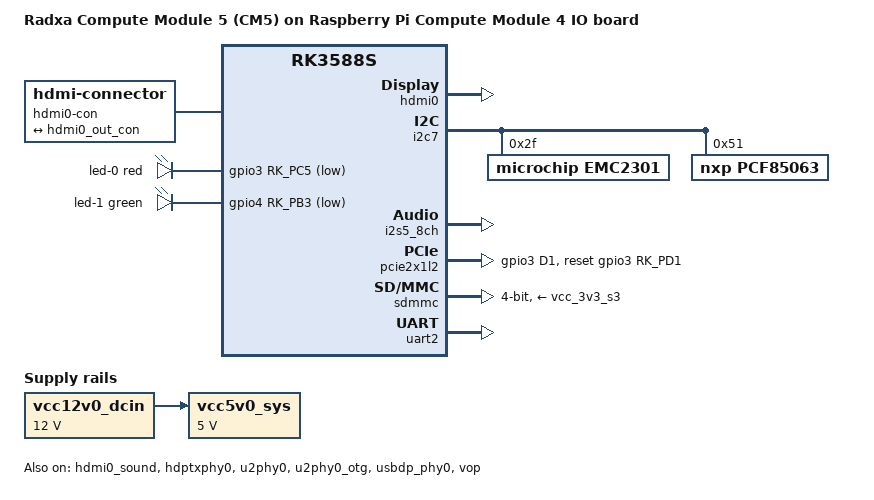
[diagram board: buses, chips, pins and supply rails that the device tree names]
// SPDX-License-Identifier: (GPL-2.0+ OR MIT)
/*
 * Copyright (c) 2025 Andrew Yong <me@ndoo.sg>
 */

/*
 * Raspberry Pi CM4 I/O board datasheet
 * https://datasheets.raspberrypi.com/cm4io/cm4io-datasheet.pdf
 */

/dts-v1/;

#include <dt-bindings/soc/rockchip,vop2.h>
#include "rk3588s-radxa-cm5.dtsi"

/ {
	model = "Radxa Compute Module 5 (CM5) on Raspberry Pi Compute Module 4 IO board";
	compatible = "radxa,cm5-rpi-cm4-io", "radxa,cm5", "rockchip,rk3588s";

	aliases {
		ethernet0 = &gmac1;
		mmc1 = &sdmmc;
	};

	chosen {
		stdout-path = "serial2:1500000n8";
	};

	hdmi0-con {
		compatible = "hdmi-connector";
		type = "a";

		port {
			hdmi0_con_in: endpoint {
				remote-endpoint = <&hdmi0_out_con>;
			};
		};
	};

	leds {
		compatible = "gpio-leds";
		pinctrl-names = "default";
		pinctrl-0 = <&led_pins>;

		led-0 {
			color = <LED_COLOR_ID_RED>;
			function = LED_FUNCTION_POWER;
			gpios = <&gpio3 RK_PC5 GPIO_ACTIVE_LOW>;
			linux,default-trigger = "default-on";
		};

		led-1 {
			color = <LED_COLOR_ID_GREEN>;
			default-state = "on";
			function = LED_FUNCTION_HEARTBEAT;
			gpios = <&gpio4 RK_PB3 GPIO_ACTIVE_LOW>;
			linux,default-trigger = "heartbeat";
		};
	};

	vcc12v0_dcin: regulator-vcc12v0-dcin {
		compatible = "regulator-fixed";
		regulator-name = "vcc12v0_dcin";
		regulator-always-on;
		regulator-boot-on;
		regulator-min-microvolt = <12000000>;
		regulator-max-microvolt = <12000000>;
	};

	vcc5v0_sys: regulator-vcc5v0-sys {
		compatible = "regulator-fixed";
		regulator-name = "vcc5v0_sys";
		regulator-always-on;
		regulator-boot-on;
		regulator-min-microvolt = <5000000>;
		regulator-max-microvolt = <5000000>;
		vin-supply = <&vcc12v0_dcin>;
	};
};

&hdmi0 {
	pinctrl-names = "default";
	pinctrl-0 = <&hdmim0_tx0_cec
		     &hdmim1_tx0_hpd
		     &hdmim0_tx0_scl
		     &hdmim0_tx0_sda>;
	status = "okay";
};

&hdmi0_in {
	hdmi0_in_vp0: endpoint {
		remote-endpoint = <&vp0_out_hdmi0>;
	};
};

&hdmi0_out {
	hdmi0_out_con: endpoint {
		remote-endpoint = <&hdmi0_con_in>;
	};
};

&hdmi0_sound {
	status = "okay";
};

&hdptxphy0 {
	status = "okay";
};

&i2c7 {
	pinctrl-names = "default";
	pinctrl-0 = <&i2c7m2_xfer>;
	status = "okay";

	emc2301: emc2301@2f {
		status = "okay";
		compatible = "microchip,emc2301";
		reg = <0x2f>;
		#address-cells = <1>;
		#size-cells = <0>;
		#cooling-cells = <2>;
		microchip,pwm-separate;
		microchip,cooling-levels = <10>;
		channel@0 {
			reg = <0>;
			pwm-min = <0>;
		};
	};

	pcf85063: pcf85063@51 {
		compatible = "nxp,pcf85063";
		status = "okay";
		reg = <0x51>;
		quartz-load-femtofarads = <12500>;
	};

};

&i2s5_8ch {
	status = "okay";
};

&pcie2x1l2 {
	pinctrl-names = "default";
	pinctrl-0 = <&pcie20x1_2_perstn_m0>;
	reset-gpios = <&gpio3 RK_PD1 GPIO_ACTIVE_HIGH>;
//	vpcie3v3-supply = <&vcc_3v3_s3>;
	status = "okay";
};

&pinctrl {
	leds {
		led_pins: led-pins {
			rockchip,pins = <4 RK_PB3 RK_FUNC_GPIO &pcfg_pull_none>,
			<3 RK_PC5 RK_FUNC_GPIO &pcfg_pull_none>;
		};
	};

	pcie {
		pcie20x1_2_perstn_m0: pcie20x1-2-perstn-m0 {
			rockchip,pins = <3 RK_PD1 RK_FUNC_GPIO &pcfg_pull_none>;
		};
	};
};

&sdmmc {
	bus-width = <4>;
	cap-mmc-highspeed;
	cap-sd-highspeed;
	disable-wp;
	no-sdio;
	no-mmc;
	sd-uhs-sdr104;
	vmmc-supply = <&vcc_3v3_s3>;
	vqmmc-supply = <&vccio_sd_s0>;
	status = "okay";
};

&u2phy0 {
	status = "okay";
};

&u2phy0_otg {
	status = "okay";
};

&uart2 {
	pinctrl-0 = <&uart2m0_xfer>;
	status = "okay";
};

&usbdp_phy0 {
    maximum-speed = "high-speed";
	status = "okay";
};

&vop {
	status = "okay";
};

&vcc_sysin {
	vin-supply = <&vcc5v0_sys>;
};

&vop_mmu {
	status = "okay";
};

&vp0 {
	vp0_out_hdmi0: endpoint@ROCKCHIP_VOP2_EP_HDMI0 {
		reg = <ROCKCHIP_VOP2_EP_HDMI0>;
		remote-endpoint = <&hdmi0_in_vp0>;
	};
};
